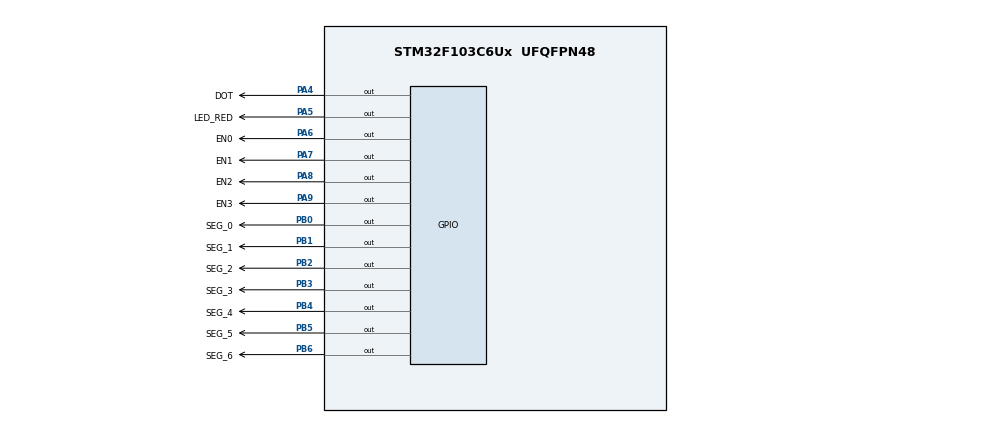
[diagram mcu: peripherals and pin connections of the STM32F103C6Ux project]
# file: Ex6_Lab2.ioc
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Mcu.Family=STM32F1
Mcu.Name=STM32F103C6Ux
Mcu.Package=UFQFPN48
NVIC.PriorityGroup=NVIC_PRIORITYGROUP_4
NVIC.TIM2_IRQn=true\:0\:0\:false\:false\:true\:true\:true
PA4.GPIO_Label=DOT
PA4.Signal=GPIO_Output
PA5.GPIO_Label=LED_RED
PA5.Signal=GPIO_Output
PA6.GPIO_Label=EN0
PA6.Signal=GPIO_Output
PA7.GPIO_Label=EN1
PA7.Signal=GPIO_Output
PA8.GPIO_Label=EN2
PA8.Signal=GPIO_Output
PA9.GPIO_Label=EN3
PA9.Signal=GPIO_Output
PB0.GPIO_Label=SEG_0
PB0.Signal=GPIO_Output
PB1.GPIO_Label=SEG_1
PB1.Signal=GPIO_Output
PB2.GPIO_Label=SEG_2
PB2.Signal=GPIO_Output
PB3.GPIO_Label=SEG_3
PB3.Signal=GPIO_Output
PB4.GPIO_Label=SEG_4
PB4.Signal=GPIO_Output
PB5.GPIO_Label=SEG_5
PB5.Signal=GPIO_Output
PB6.GPIO_Label=SEG_6
PB6.Signal=GPIO_Output
ProjectManager.HeapSize=0x200
ProjectManager.StackSize=0x400
ProjectManager.TargetToolchain=STM32CubeIDE
RCC.APB1Freq_Value=8000000
RCC.APB2Freq_Value=8000000
TIM2.Period=9
TIM2.Prescaler=7999
VP_SYS_VS_ND.Mode=No_Debug
VP_TIM2_VS_ClockSourceINT.Mode=Internal
board=custom

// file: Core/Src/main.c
/* USER CODE BEGIN Header */
/**
  ******************************************************************************
  * @file           : main.c
  * @brief          : Main program body
  ******************************************************************************
  * @attention
  *
  * <h2><center>&copy; Copyright (c) 2024 STMicroelectronics.
  * All rights reserved.</center></h2>
  *
  * This software component is licensed by ST under BSD 3-Clause license,
  * the "License"; You may not use this file except in compliance with the
  * License. You may obtain a copy of the License at:
  *                        opensource.org/licenses/BSD-3-Clause
  *
  ******************************************************************************
  */
/* USER CODE END Header */
#include "main.h"

TIM_HandleTypeDef htim2;

void SystemClock_Config(void);
static void MX_GPIO_Init(void);
static void MX_TIM2_Init(void);

/* USER CODE BEGIN 0 */
int timer0_counter = 0;
int timer0_flag = 0;
int TIMER_CYCLE = 10;

//-- setTimer0 is used for the blinking Red LED --//
void setTimer0 (int duration)
{
	timer0_counter = duration / TIMER_CYCLE;
	timer0_flag = 0;
}
void timer_run()
{
	if (timer0_counter > 0)
	{
		timer0_counter--;
		if (timer0_counter <= 0)
		{
			timer0_flag = 1;
		}
	}
}
/* USER CODE END 0 */

int main(void)
{

  /* MCU Configuration--------------------------------------------------------*/

  /* Reset of all peripherals, Initializes the Flash interface and the Systick. */
  HAL_Init();

  /* Configure the system clock */
  SystemClock_Config();

  /* Initialize all configured peripherals */
  MX_GPIO_Init();
  MX_TIM2_Init();
  /* USER CODE BEGIN 2 */
  HAL_TIM_Base_Start_IT(&htim2);

  /* USER CODE END 2 */

  /* Infinite loop */
  /* USER CODE BEGIN WHILE */
  setTimer0(1000);
  while (1)
  {
	  if(timer0_flag == 1)
	  {
		  HAL_GPIO_TogglePin(LED_RED_GPIO_Port, LED_RED_Pin);
		  setTimer0(1000);
	  }
    /* USER CODE END WHILE */

  }
}

void SystemClock_Config(void)
{
  RCC_OscInitTypeDef RCC_OscInitStruct = {0};
  RCC_ClkInitTypeDef RCC_ClkInitStruct = {0};

  /** Initializes the RCC Oscillators according to the specified parameters
  * in the RCC_OscInitTypeDef structure.
  */
  RCC_OscInitStruct.OscillatorType = RCC_OSCILLATORTYPE_HSI;
  RCC_OscInitStruct.HSIState = RCC_HSI_ON;
  RCC_OscInitStruct.HSICalibrationValue = RCC_HSICALIBRATION_DEFAULT;
  RCC_OscInitStruct.PLL.PLLState = RCC_PLL_NONE;
  if (HAL_RCC_OscConfig(&RCC_OscInitStruct) != HAL_OK)
  {
    Error_Handler();
  }
  /** Initializes the CPU, AHB and APB buses clocks
  */
  RCC_ClkInitStruct.ClockType = RCC_CLOCKTYPE_HCLK|RCC_CLOCKTYPE_SYSCLK
                              |RCC_CLOCKTYPE_PCLK1|RCC_CLOCKTYPE_PCLK2;
  RCC_ClkInitStruct.SYSCLKSource = RCC_SYSCLKSOURCE_HSI;
  RCC_ClkInitStruct.AHBCLKDivider = RCC_SYSCLK_DIV1;
  RCC_ClkInitStruct.APB1CLKDivider = RCC_HCLK_DIV1;
  RCC_ClkInitStruct.APB2CLKDivider = RCC_HCLK_DIV1;

  if (HAL_RCC_ClockConfig(&RCC_ClkInitStruct, FLASH_LATENCY_0) != HAL_OK)
  {
    Error_Handler();
  }
}

static void MX_TIM2_Init(void)
{

  TIM_ClockConfigTypeDef sClockSourceConfig = {0};
  TIM_MasterConfigTypeDef sMasterConfig = {0};

  htim2.Instance = TIM2;
  htim2.Init.Prescaler = 7999;
  htim2.Init.CounterMode = TIM_COUNTERMODE_UP;
  htim2.Init.Period = 9;
  htim2.Init.ClockDivision = TIM_CLOCKDIVISION_DIV1;
  htim2.Init.AutoReloadPreload = TIM_AUTORELOAD_PRELOAD_DISABLE;
  if (HAL_TIM_Base_Init(&htim2) != HAL_OK)
  {
    Error_Handler();
  }
  sClockSourceConfig.ClockSource = TIM_CLOCKSOURCE_INTERNAL;
  if (HAL_TIM_ConfigClockSource(&htim2, &sClockSourceConfig) != HAL_OK)
  {
    Error_Handler();
  }
  sMasterConfig.MasterOutputTrigger = TIM_TRGO_RESET;
  sMasterConfig.MasterSlaveMode = TIM_MASTERSLAVEMODE_DISABLE;
  if (HAL_TIMEx_MasterConfigSynchronization(&htim2, &sMasterConfig) != HAL_OK)
  {
    Error_Handler();
  }

}

static void MX_GPIO_Init(void)
{
  GPIO_InitTypeDef GPIO_InitStruct = {0};

  /* GPIO Ports Clock Enable */
  __HAL_RCC_GPIOA_CLK_ENABLE();
  __HAL_RCC_GPIOB_CLK_ENABLE();

  /*Configure GPIO pin Output Level */
  HAL_GPIO_WritePin(GPIOA, DOT_Pin|LED_RED_Pin|EN0_Pin|EN1_Pin
                          |EN2_Pin|EN3_Pin, GPIO_PIN_RESET);

  /*Configure GPIO pin Output Level */
  HAL_GPIO_WritePin(GPIOB, SEG_0_Pin|SEG_1_Pin|SEG_2_Pin|SEG_3_Pin
                          |SEG_4_Pin|SEG_5_Pin|SEG_6_Pin, GPIO_PIN_RESET);

  /*Configure GPIO pins : DOT_Pin LED_RED_Pin EN0_Pin EN1_Pin
                           EN2_Pin EN3_Pin */
  GPIO_InitStruct.Pin = DOT_Pin|LED_RED_Pin|EN0_Pin|EN1_Pin
                          |EN2_Pin|EN3_Pin;
  GPIO_InitStruct.Mode = GPIO_MODE_OUTPUT_PP;
  GPIO_InitStruct.Pull = GPIO_NOPULL;
  GPIO_InitStruct.Speed = GPIO_SPEED_FREQ_LOW;
  HAL_GPIO_Init(GPIOA, &GPIO_InitStruct);

  /*Configure GPIO pins : SEG_0_Pin SEG_1_Pin SEG_2_Pin SEG_3_Pin
                           SEG_4_Pin SEG_5_Pin SEG_6_Pin */
  GPIO_InitStruct.Pin = SEG_0_Pin|SEG_1_Pin|SEG_2_Pin|SEG_3_Pin
                          |SEG_4_Pin|SEG_5_Pin|SEG_6_Pin;
  GPIO_InitStruct.Mode = GPIO_MODE_OUTPUT_PP;
  GPIO_InitStruct.Pull = GPIO_NOPULL;
  GPIO_InitStruct.Speed = GPIO_SPEED_FREQ_LOW;
  HAL_GPIO_Init(GPIOB, &GPIO_InitStruct);

}

/* USER CODE BEGIN 4 */
void display7SEG(int num)
  {
	  if (num == 0)
	  {
		  HAL_GPIO_WritePin(SEG_0_GPIO_Port, SEG_0_Pin, GPIO_PIN_RESET);
		  HAL_GPIO_WritePin(SEG_1_GPIO_Port, SEG_1_Pin, GPIO_PIN_RESET);
		  HAL_GPIO_WritePin(SEG_2_GPIO_Port, SEG_2_Pin, GPIO_PIN_RESET);
		  HAL_GPIO_WritePin(SEG_3_GPIO_Port, SEG_3_Pin, GPIO_PIN_RESET);
		  HAL_GPIO_WritePin(SEG_4_GPIO_Port, SEG_4_Pin, GPIO_PIN_RESET);
		  HAL_GPIO_WritePin(SEG_5_GPIO_Port, SEG_5_Pin, GPIO_PIN_RESET);
		  HAL_GPIO_WritePin(SEG_6_GPIO_Port, SEG_6_Pin, GPIO_PIN_SET);
	  }
	  else if (num == 1)
	  {
		  HAL_GPIO_WritePin(SEG_0_GPIO_Port, SEG_0_Pin, GPIO_PIN_SET);
		  HAL_GPIO_WritePin(SEG_1_GPIO_Port, SEG_1_Pin, GPIO_PIN_RESET);
		  HAL_GPIO_WritePin(SEG_2_GPIO_Port, SEG_2_Pin, GPIO_PIN_RESET);
		  HAL_GPIO_WritePin(SEG_3_GPIO_Port, SEG_3_Pin, GPIO_PIN_SET);
		  HAL_GPIO_WritePin(SEG_4_GPIO_Port, SEG_4_Pin, GPIO_PIN_SET);
		  HAL_GPIO_WritePin(SEG_5_GPIO_Port, SEG_5_Pin, GPIO_PIN_SET);
		  HAL_GPIO_WritePin(SEG_6_GPIO_Port, SEG_6_Pin, GPIO_PIN_SET);
	  }
	  else if (num == 2)
	  {
		  HAL_GPIO_WritePin(SEG_0_GPIO_Port, SEG_0_Pin, GPIO_PIN_RESET);
		  HAL_GPIO_WritePin(SEG_1_GPIO_Port, SEG_1_Pin, GPIO_PIN_RESET);
		  HAL_GPIO_WritePin(SEG_2_GPIO_Port, SEG_2_Pin, GPIO_PIN_SET);
		  HAL_GPIO_WritePin(SEG_3_GPIO_Port, SEG_3_Pin, GPIO_PIN_RESET);
		  HAL_GPIO_WritePin(SEG_4_GPIO_Port, SEG_4_Pin, GPIO_PIN_RESET);
		  HAL_GPIO_WritePin(SEG_5_GPIO_Port, SEG_5_Pin, GPIO_PIN_SET);
		  HAL_GPIO_WritePin(SEG_6_GPIO_Port, SEG_6_Pin, GPIO_PIN_RESET);
	  }
	  else if (num == 3)
	  {
		  HAL_GPIO_WritePin(SEG_0_GPIO_Port, SEG_0_Pin, GPIO_PIN_RESET);
		  HAL_GPIO_WritePin(SEG_1_GPIO_Port, SEG_1_Pin, GPIO_PIN_RESET);
		  HAL_GPIO_WritePin(SEG_2_GPIO_Port, SEG_2_Pin, GPIO_PIN_RESET);
		  HAL_GPIO_WritePin(SEG_3_GPIO_Port, SEG_3_Pin, GPIO_PIN_RESET);
		  HAL_GPIO_WritePin(SEG_4_GPIO_Port, SEG_4_Pin, GPIO_PIN_SET);
		  HAL_GPIO_WritePin(SEG_5_GPIO_Port, SEG_5_Pin, GPIO_PIN_SET);
		  HAL_GPIO_WritePin(SEG_6_GPIO_Port, SEG_6_Pin, GPIO_PIN_RESET);
	  }
	  else if (num == 4)
	  {
		  HAL_GPIO_WritePin(SEG_0_GPIO_Port, SEG_0_Pin, GPIO_PIN_SET);
		  HAL_GPIO_WritePin(SEG_1_GPIO_Port, SEG_1_Pin, GPIO_PIN_RESET);
		  HAL_GPIO_WritePin(SEG_2_GPIO_Port, SEG_2_Pin, GPIO_PIN_RESET);
		  HAL_GPIO_WritePin(SEG_3_GPIO_Port, SEG_3_Pin, GPIO_PIN_SET);
		  HAL_GPIO_WritePin(SEG_4_GPIO_Port, SEG_4_Pin, GPIO_PIN_SET);
		  HAL_GPIO_WritePin(SEG_5_GPIO_Port, SEG_5_Pin, GPIO_PIN_RESET);
		  HAL_GPIO_WritePin(SEG_6_GPIO_Port, SEG_6_Pin, GPIO_PIN_RESET);
	  }
	  else if (num == 5)
	  {
		  HAL_GPIO_WritePin(SEG_0_GPIO_Port, SEG_0_Pin, GPIO_PIN_RESET);
		  HAL_GPIO_WritePin(SEG_1_GPIO_Port, SEG_1_Pin, GPIO_PIN_SET);
		  HAL_GPIO_WritePin(SEG_2_GPIO_Port, SEG_2_Pin, GPIO_PIN_RESET);
		  HAL_GPIO_WritePin(SEG_3_GPIO_Port, SEG_3_Pin, GPIO_PIN_RESET);
		  HAL_GPIO_WritePin(SEG_4_GPIO_Port, SEG_4_Pin, GPIO_PIN_SET);
		  HAL_GPIO_WritePin(SEG_5_GPIO_Port, SEG_5_Pin, GPIO_PIN_RESET);
		  HAL_GPIO_WritePin(SEG_6_GPIO_Port, SEG_6_Pin, GPIO_PIN_RESET);
	  }
	  else if (num == 6)
	  {
		  HAL_GPIO_WritePin(SEG_0_GPIO_Port, SEG_0_Pin, GPIO_PIN_RESET);
		  HAL_GPIO_WritePin(SEG_1_GPIO_Port, SEG_1_Pin, GPIO_PIN_SET);
		  HAL_GPIO_WritePin(SEG_2_GPIO_Port, SEG_2_Pin, GPIO_PIN_RESET);
		  HAL_GPIO_WritePin(SEG_3_GPIO_Port, SEG_3_Pin, GPIO_PIN_RESET);
		  HAL_GPIO_WritePin(SEG_4_GPIO_Port, SEG_4_Pin, GPIO_PIN_RESET);
		  HAL_GPIO_WritePin(SEG_5_GPIO_Port, SEG_5_Pin, GPIO_PIN_RESET);
		  HAL_GPIO_WritePin(SEG_6_GPIO_Port, SEG_6_Pin, GPIO_PIN_RESET);
	  }
	  else if (num == 7)
	  {
		  HAL_GPIO_WritePin(SEG_0_GPIO_Port, SEG_0_Pin, GPIO_PIN_RESET);
		  HAL_GPIO_WritePin(SEG_1_GPIO_Port, SEG_1_Pin, GPIO_PIN_RESET);
		  HAL_GPIO_WritePin(SEG_2_GPIO_Port, SEG_2_Pin, GPIO_PIN_RESET);
		  HAL_GPIO_WritePin(SEG_3_GPIO_Port, SEG_3_Pin, GPIO_PIN_SET);
		  HAL_GPIO_WritePin(SEG_4_GPIO_Port, SEG_4_Pin, GPIO_PIN_SET);
		  HAL_GPIO_WritePin(SEG_5_GPIO_Port, SEG_5_Pin, GPIO_PIN_SET);
		  HAL_GPIO_WritePin(SEG_6_GPIO_Port, SEG_6_Pin, GPIO_PIN_SET);
	  }
	  else if (num == 8)
	  {
		  HAL_GPIO_WritePin(SEG_0_GPIO_Port, SEG_0_Pin, GPIO_PIN_RESET);
		  HAL_GPIO_WritePin(SEG_1_GPIO_Port, SEG_1_Pin, GPIO_PIN_RESET);
		  HAL_GPIO_WritePin(SEG_2_GPIO_Port, SEG_2_Pin, GPIO_PIN_RESET);
		  HAL_GPIO_WritePin(SEG_3_GPIO_Port, SEG_3_Pin, GPIO_PIN_RESET);
		  HAL_GPIO_WritePin(SEG_4_GPIO_Port, SEG_4_Pin, GPIO_PIN_RESET);
		  HAL_GPIO_WritePin(SEG_5_GPIO_Port, SEG_5_Pin, GPIO_PIN_RESET);
		  HAL_GPIO_WritePin(SEG_6_GPIO_Port, SEG_6_Pin, GPIO_PIN_RESET);
	  }
	  else if (num == 9)
	  {
		  HAL_GPIO_WritePin(SEG_0_GPIO_Port, SEG_0_Pin, GPIO_PIN_RESET);
		  HAL_GPIO_WritePin(SEG_1_GPIO_Port, SEG_1_Pin, GPIO_PIN_RESET);
		  HAL_GPIO_WritePin(SEG_2_GPIO_Port, SEG_2_Pin, GPIO_PIN_RESET);
		  HAL_GPIO_WritePin(SEG_3_GPIO_Port, SEG_3_Pin, GPIO_PIN_RESET);
		  HAL_GPIO_WritePin(SEG_4_GPIO_Port, SEG_4_Pin, GPIO_PIN_SET);
		  HAL_GPIO_WritePin(SEG_5_GPIO_Port, SEG_5_Pin, GPIO_PIN_RESET);
		  HAL_GPIO_WritePin(SEG_6_GPIO_Port, SEG_6_Pin, GPIO_PIN_RESET);
	  }
  }

int led_buffer[4] = {0, 0, 0, 0};
void updateClockBuffer(int hour, int minute)
{
	if (minute <= 9)
	{
		led_buffer[2] = 0;
		led_buffer[3] = minute;
	}
	if (minute >= 10)
	{
		led_buffer[2] = minute / 10;
		led_buffer[3] = minute % 10;
	}
	if (hour <= 9)
	{
		led_buffer[0] = 0;
		led_buffer[1] = hour;
	}
	if (hour >= 10)
	{
		led_buffer[0] = hour / 10;
		led_buffer[1] = hour % 10;
	}
}

const int MAX_LED = 4;
int index_led = 0;
void update7SEG(int index)
{
	switch (index)
	{
	case 0:
		HAL_GPIO_WritePin(EN0_GPIO_Port, EN0_Pin, GPIO_PIN_RESET);
		HAL_GPIO_WritePin(EN1_GPIO_Port, EN1_Pin, GPIO_PIN_SET);
		HAL_GPIO_WritePin(EN2_GPIO_Port, EN2_Pin, GPIO_PIN_SET);
		HAL_GPIO_WritePin(EN3_GPIO_Port, EN3_Pin, GPIO_PIN_SET);
		display7SEG(led_buffer[0]);
		break;
	case 1:
		HAL_GPIO_WritePin(EN0_GPIO_Port, EN0_Pin, GPIO_PIN_SET);
		HAL_GPIO_WritePin(EN1_GPIO_Port, EN1_Pin, GPIO_PIN_RESET);
		HAL_GPIO_WritePin(EN2_GPIO_Port, EN2_Pin, GPIO_PIN_SET);
		HAL_GPIO_WritePin(EN3_GPIO_Port, EN3_Pin, GPIO_PIN_SET);
		display7SEG(led_buffer[1]);
		break;
	case 2:
		HAL_GPIO_WritePin(EN0_GPIO_Port, EN0_Pin, GPIO_PIN_SET);
		HAL_GPIO_WritePin(EN1_GPIO_Port, EN1_Pin, GPIO_PIN_SET);
		HAL_GPIO_WritePin(EN2_GPIO_Port, EN2_Pin, GPIO_PIN_RESET);
		HAL_GPIO_WritePin(EN3_GPIO_Port, EN3_Pin, GPIO_PIN_SET);
		display7SEG(led_buffer[2]);
		break;
	case 3:
		HAL_GPIO_WritePin(EN0_GPIO_Port, EN0_Pin, GPIO_PIN_SET);
		HAL_GPIO_WritePin(EN1_GPIO_Port, EN1_Pin, GPIO_PIN_SET);
		HAL_GPIO_WritePin(EN2_GPIO_Port, EN2_Pin, GPIO_PIN_SET);
		HAL_GPIO_WritePin(EN3_GPIO_Port, EN3_Pin, GPIO_PIN_RESET);
		display7SEG(led_buffer[3]);
		break;
	default:
		break;
	}
}

void HAL_TIM_PeriodElapsedCallback(TIM_HandleTypeDef *htim)
{
	timer_run();
}

/* USER CODE END 4 */

void Error_Handler(void)
{
  __disable_irq();
  while (1)
  {
  }
}

/************************ (C) COPYRIGHT STMicroelectronics *****END OF FILE****/
